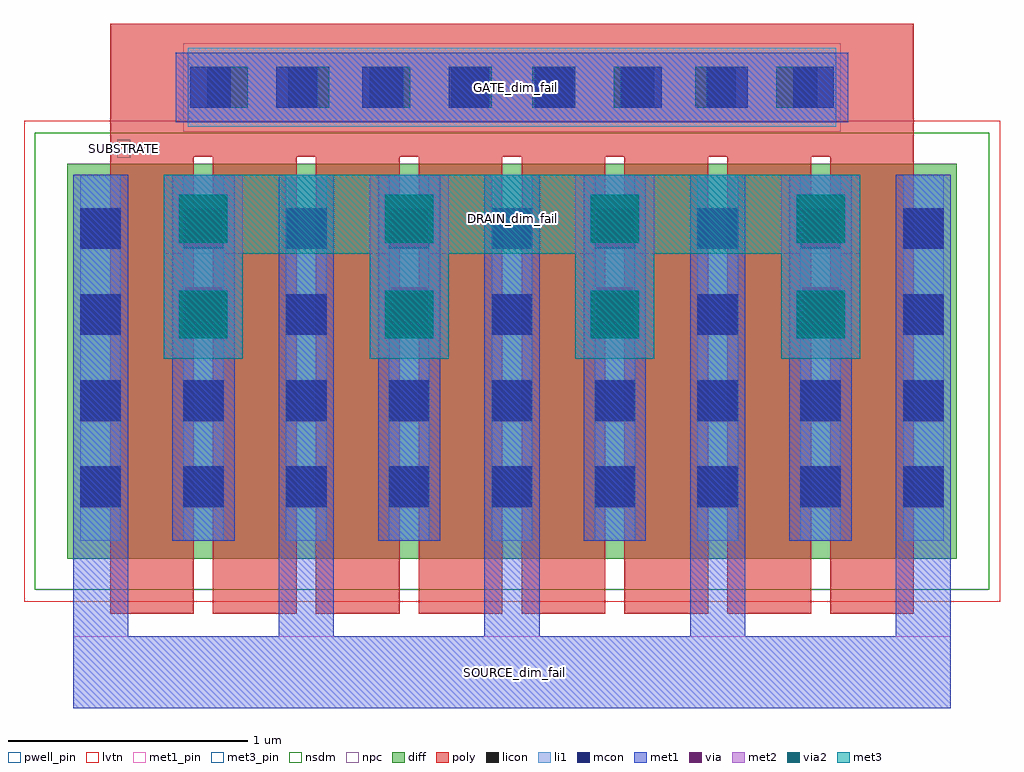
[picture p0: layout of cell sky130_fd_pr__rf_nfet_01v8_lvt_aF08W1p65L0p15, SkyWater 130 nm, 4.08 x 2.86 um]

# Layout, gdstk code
import gdstk
lib = gdstk.Library(unit=1e-6, precision=1e-09)
def R(c, l, rs):  # rectangles x0, y0, x1, y1
    for r in rs: c.add(gdstk.rectangle(r[:2], r[2:], *l))
def A(c, l, x, y, w, h, nx, ny, dx, dy):  # array of equal rectangles
    R(c, l, [(x+i*dx, y+j*dy, x+i*dx+w, y+j*dy+h) for i in range(nx) for j in range(ny)])
def P(c, l, *ps):  # polygons
    for p in ps: c.add(gdstk.Polygon(p, *l))
diff = (65, 20)
poly = (66, 20)
licon = (66, 44)
li1 = (67, 20)
mcon = (67, 44)
met1_pin = (68, 16)
met1 = (68, 20)
via = (68, 44)
met2 = (69, 20)
via2 = (69, 44)
met3_pin = (70, 16)
met3 = (70, 20)
nsdm = (93, 44)
npc = (95, 20)
pwell_pin = (122, 16)
lvtn = (125, 44)

sky130_fd_pr__rf_nfet_01 = lib.new_cell('sky130_fd_pr__rf_nfet_01v8_lvt_aF08W1p65L0p15')
A(sky130_fd_pr__rf_nfet_01, diff, 0.18, 0.18, 0.28, 1.65, 3, 1, 0.43, 0)
A(sky130_fd_pr__rf_nfet_01, diff, 0.21, 0.18, 0.25, 1.65, 4, 1, 0.86, 0)
A(sky130_fd_pr__rf_nfet_01, diff, 0.46, 0.18, 0.15, 1.65, 8, 1, 0.43, 0)
A(sky130_fd_pr__rf_nfet_01, diff, 1.04, 0.18, 0.28, 1.65, 3, 1, 0.43, 0)
A(sky130_fd_pr__rf_nfet_01, diff, 1.9, 0.18, 0.28, 1.65, 3, 1, 0.43, 0)
A(sky130_fd_pr__rf_nfet_01, diff, 2.76, 0.18, 0.28, 1.65, 3, 1, 0.43, 0)
R(sky130_fd_pr__rf_nfet_01, diff, [(3.62,0.18,3.9,1.83), (3.62,0.18,3.87,1.83), (3.65,0.18,3.9,1.83)])
P(sky130_fd_pr__rf_nfet_01, poly, [(0.36,-0.05),(0.36,2.415),(3.72,2.415),(3.72,-0.05),(3.37,-0.05),(3.37,1.86),(3.29,1.86),(3.29,-0.05),(2.94,-0.05),(2.94,1.86),(2.86,1.86),(2.86,-0.05),(2.51,-0.05),(2.51,1.86),(2.43,1.86),(2.43,-0.05),(2.08,-0.05),(2.08,1.86),(2,1.86),(2,-0.05),(1.65,-0.05),(1.65,1.86),(1.57,1.86),(1.57,-0.05),(1.22,-0.05),(1.22,1.86),(1.14,1.86),(1.14,-0.05),(0.79,-0.05),(0.79,1.86),(0.71,1.86),(0.71,-0.05)])
A(sky130_fd_pr__rf_nfet_01, licon, 0.235, 0.395, 0.17, 0.17, 9, 4, 0.43, 0.36)
A(sky130_fd_pr__rf_nfet_01, licon, 0.765, 2.065, 0.17, 0.17, 8, 1, 0.34, 0)
A(sky130_fd_pr__rf_nfet_01, li1, 0.235, 0.255, 0.17, 1.53, 9, 1, 0.43, 0)
R(sky130_fd_pr__rf_nfet_01, li1, [(0.685,1.985,3.395,2.315), (0.695,2.065,3.385,2.235)])
A(sky130_fd_pr__rf_nfet_01, mcon, 0.235, 0.395, 0.17, 0.17, 9, 4, 0.43, 0.36)
A(sky130_fd_pr__rf_nfet_01, mcon, 0.695, 2.065, 0.17, 0.17, 8, 1, 0.36, 0)
R(sky130_fd_pr__rf_nfet_01, met1_pin, [(0.205,-0.445,3.875,-0.145), (0.635,2.005,3.445,2.295)])
R(sky130_fd_pr__rf_nfet_01, met1, [(0.635,2.005,3.445,2.295)])
A(sky130_fd_pr__rf_nfet_01, via, 0.675, 1.165, 0.15, 0.15, 4, 2, 0.86, 0.32)
A(sky130_fd_pr__rf_nfet_01, met2, 0.585, 1.015, 0.33, 0.77, 4, 1, 0.86, 0)
A(sky130_fd_pr__rf_nfet_01, met2, 0.62, 1.08, 0.26, 0.64, 4, 1, 0.86, 0)
A(sky130_fd_pr__rf_nfet_01, via2, 0.65, 1.1, 0.2, 0.2, 4, 2, 0.86, 0.4)
R(sky130_fd_pr__rf_nfet_01, met3_pin, [(0.585,1.455,3.495,1.785)])
A(sky130_fd_pr__rf_nfet_01, met3, 0.585, 1.015, 0.33, 0.77, 4, 1, 0.86, 0)
A(sky130_fd_pr__rf_nfet_01, nsdm, 0.21, 0.05, 0.4, 1.91, 7, 1, 0.43, 0)
A(sky130_fd_pr__rf_nfet_01, nsdm, 0.48, 0.05, 0.54, 1.91, 7, 1, 0.43, 0)
R(sky130_fd_pr__rf_nfet_01, nsdm, [(0.045,0.05,0.59,1.96), (3.22,0.05,3.87,1.96), (3.49,0.05,4.035,1.96)])
R(sky130_fd_pr__rf_nfet_01, npc, [(0.665,1.965,3.415,2.335)])
R(sky130_fd_pr__rf_nfet_01, pwell_pin, [(0.39,1.855,0.445,1.93)])
R(sky130_fd_pr__rf_nfet_01, lvtn, [(0,0,4.08,2.01)])
sky130_fd_pr__rf_nfet_01.add(gdstk.FlexPath([(0.585,1.62),(3.495,1.62)], 0.33, ends="flush", simple_path=True, layer=70, datatype=20))  # met3
sky130_fd_pr__rf_nfet_01.add(gdstk.FlexPath([(0.32,1.785),(0.32,-0.445)], 0.23, ends="flush", simple_path=True, layer=68, datatype=20))  # met1
sky130_fd_pr__rf_nfet_01.add(gdstk.FlexPath([(0.75,1.785),(0.75,0.255)], 0.26, ends="flush", simple_path=True, layer=68, datatype=20))  # met1
sky130_fd_pr__rf_nfet_01.add(gdstk.FlexPath([(1.61,1.785),(1.61,0.255)], 0.26, ends="flush", simple_path=True, layer=68, datatype=20))  # met1
sky130_fd_pr__rf_nfet_01.add(gdstk.FlexPath([(2.47,1.785),(2.47,0.255)], 0.26, ends="flush", simple_path=True, layer=68, datatype=20))  # met1
sky130_fd_pr__rf_nfet_01.add(gdstk.FlexPath([(3.33,1.785),(3.33,0.255)], 0.26, ends="flush", simple_path=True, layer=68, datatype=20))  # met1
sky130_fd_pr__rf_nfet_01.add(gdstk.FlexPath([(1.18,1.785),(1.18,-0.445)], 0.23, ends="flush", simple_path=True, layer=68, datatype=20))  # met1
sky130_fd_pr__rf_nfet_01.add(gdstk.FlexPath([(0.205,-0.295),(3.875,-0.295)], 0.3, ends="flush", simple_path=True, layer=68, datatype=20))  # met1
sky130_fd_pr__rf_nfet_01.add(gdstk.FlexPath([(2.04,1.785),(2.04,-0.445)], 0.23, ends="flush", simple_path=True, layer=68, datatype=20))  # met1
sky130_fd_pr__rf_nfet_01.add(gdstk.FlexPath([(3.76,1.785),(3.76,-0.445)], 0.23, ends="flush", simple_path=True, layer=68, datatype=20))  # met1
sky130_fd_pr__rf_nfet_01.add(gdstk.FlexPath([(2.9,1.785),(2.9,-0.445)], 0.23, ends="flush", simple_path=True, layer=68, datatype=20))  # met1
sky130_fd_pr__rf_nfet_01.add(gdstk.Label('DRAIN_dim_fail', (2.04,1.6), layer=70, texttype=16))
sky130_fd_pr__rf_nfet_01.add(gdstk.Label('GATE_dim_fail', (2.055,2.15), layer=68, texttype=16))
sky130_fd_pr__rf_nfet_01.add(gdstk.Label('SOURCE_dim_fail', (2.05,-0.295), layer=68, texttype=16))
sky130_fd_pr__rf_nfet_01.add(gdstk.Label('SUBSTRATE', (0.42,1.895), layer=64, texttype=59))

lib.write_gds('sky130_fd_pr__rf_nfet_01v8_lvt_aF08W1p65L0p15.gds')
